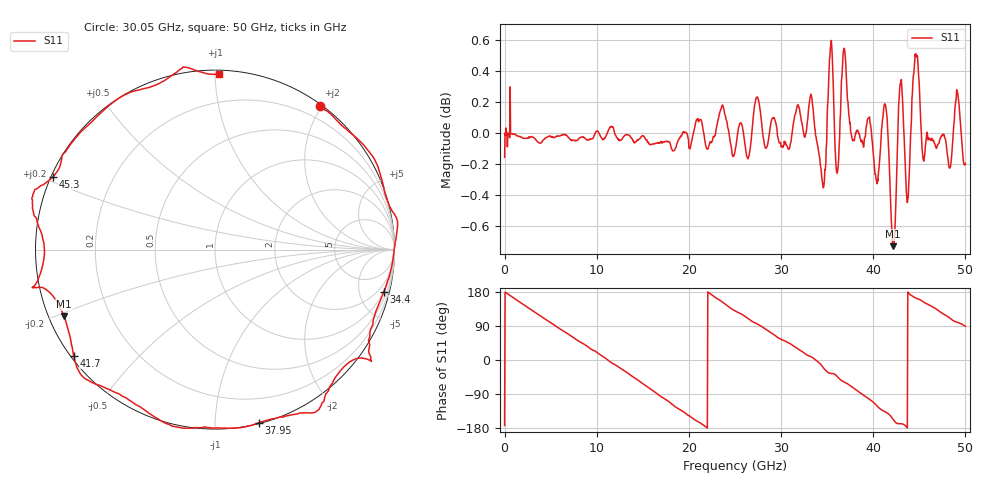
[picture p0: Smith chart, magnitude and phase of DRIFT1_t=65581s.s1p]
!Created with skrf (http://scikit-rf.org).
# Hz S RI R 50.0
!freq ReS11 ImS11
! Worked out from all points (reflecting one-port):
!   1001 points, 300 kHz to 50 GHz, reference 50 ohm
!   lowest |S11| = -0.7 dB at 42.15 GHz (marker M1), VSWR 23.90, Z = 2.18 - j10.5 ohm
!   phase of S11 starts at -173 deg and turns -818 deg over the sweep
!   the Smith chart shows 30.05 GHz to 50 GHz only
!   S11 on the Smith chart (normalised r, x): 30.05 GHz: 0.02, +1.97; 34.4 GHz: 1.03, -7.92; 37.95 GHz: 0.01, -1.28; 41.7 GHz: 0.01, -0.33; 45.3 GHz: 0.01, +0.21; 50 GHz: 0.02, +1.02
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300000  -0.9746 -0.1218
1.450291e9  -0.9124 0.4041
3.25028e9  -0.5928 0.8005
6.250262e9  0.1992 0.9788
9.500243e9  0.8885 0.4496
1.250022e10  0.9304 -0.3514
1.580021e10  0.242 -0.9613
1.74002e10  -0.2227 -0.9683
1.875019e10  -0.5981 -0.7926
2.160017e10  -0.9908 -0.1344
2.345016e10  -0.9302 0.4122
2.500015e10  -0.6295 0.7596
2.745014e10  -0.0838 1.024
3.005012e10  0.5852 0.7984
3.125011e10  0.7823 0.627
3.31501e10  1.012 0.1731
3.440009e10  0.9392 -0.2368
3.520009e10  0.864 -0.5884
3.750008e10  0.3787 -0.9339
3.795007e10  0.2433 -0.9642
3.960006e10  -0.2386 -0.9834
4.170005e10  -0.7874 -0.5909
4.215005e10  -0.8415 -0.3711
4.290004e10  -1.015 -0.2136
4.375004e10  -0.9518 0.0124
4.530003e10  -0.9014 0.4064
4.765001e10  -0.5108 0.8575
5e10  0.0198 0.9776
